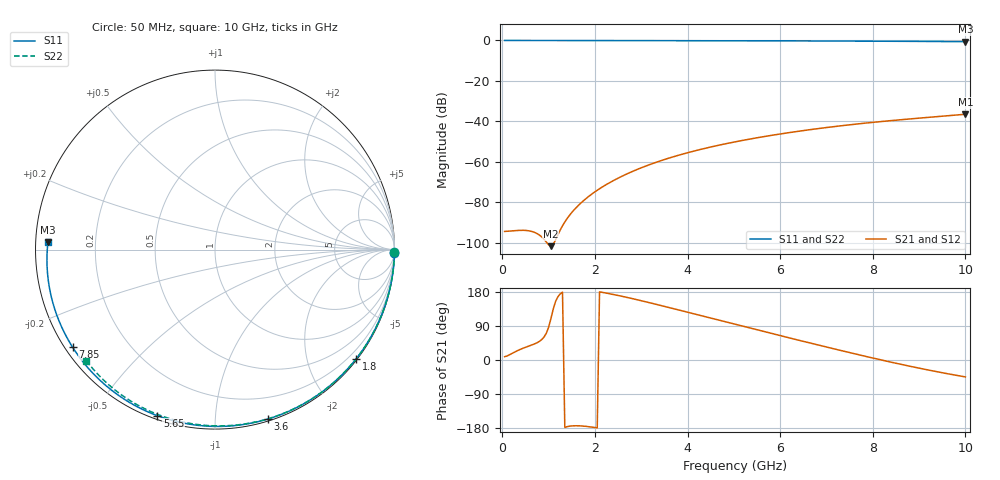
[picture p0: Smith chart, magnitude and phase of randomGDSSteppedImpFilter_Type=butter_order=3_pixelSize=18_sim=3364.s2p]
! freq	dB(S11)	phase(S11)	dB(S12)	phase(S12)
!  dB(S21)	phase(S21)	dB(S22)	phase(S22)
!S-par simulation data
#  GHz  S  DB  R 50
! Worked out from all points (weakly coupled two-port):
!   200 points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, 50 MHz to 10 GHz, reference 50 ohm
!   highest |S21| = -36.53 dB at 10 GHz (marker M1); lowest = -101.8 dB at 1.05 GHz (marker M2)
!   lowest |S11| = -0.6 dB at 10 GHz (marker M3), VSWR 28.29, Z = 1.77 + j1.11 ohm
!   |S11| at or under -10 dB: nowhere
!   |S22| runs from -0.5 to 0.0 dB; largest |S21 - S12| = 0
!   S11 on the Smith chart (normalised r, x): 50 MHz: open; 1.8 GHz: 0.03, -2.94; 3.6 GHz: 0.02, -1.36; 5.65 GHz: 0.02, -0.71; 7.85 GHz: 0.02, -0.31; 10 GHz: 0.04, +0.02
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0.05  -0.00 -1.1  -94.52 8.7  -94.52 8.7  -0.00 -0.8
0.55  -0.01 -11.7  -94.13 35.7  -94.13 35.7  -0.01 -8.8
1.05  -0.03 -22.2  -101.82 109.0  -101.82 109.0  -0.02 -16.8
1.7  -0.04 -35.6  -80.40 -174.0  -80.40 -174.0  -0.03 -27.0
1.75  -0.05 -36.6  -79.37 -174.4  -79.37 -174.4  -0.04 -27.8
1.8  -0.05 -37.6  -78.40 -175.0  -78.40 -175.0  -0.04 -28.5
2.1  -0.06 -43.7  -73.38 179.8  -73.38 179.8  -0.04 -33.2
2.3  -0.06 -47.6  -70.61 175.3  -70.61 175.3  -0.05 -36.3
2.5  -0.07 -51.6  -68.15 170.3  -68.15 170.3  -0.05 -39.3
2.9  -0.08 -59.4  -63.96 159.4  -63.96 159.4  -0.06 -45.4
3.4  -0.09 -69.0  -59.69 144.6  -59.69 144.6  -0.07 -52.8
3.6  -0.10 -72.7  -58.22 138.4  -58.22 138.4  -0.07 -55.8
4.3  -0.12 -85.6  -53.82 116.7  -53.82 116.7  -0.09 -65.9
5.05  -0.15 -98.9  -50.08 93.4  -50.08 93.4  -0.12 -76.4
5.65  -0.18 -109.2  -47.59 75.0  -47.59 75.0  -0.14 -84.5
6.15  -0.21 -117.6  -45.76 59.8  -45.76 59.8  -0.16 -91.2
6.7  -0.24 -126.7  -43.98 43.2  -43.98 43.2  -0.19 -98.3
7.3  -0.29 -136.5  -42.27 25.4  -42.27 25.4  -0.23 -106.0
7.85  -0.34 -145.5  -40.89 9.5  -40.89 9.5  -0.27 -112.9
8.35  -0.38 -153.7  -39.77 -4.5  -39.77 -4.5  -0.30 -119.1
9.2  -0.48 -168.1  -38.06 -26.5  -38.06 -26.5  -0.38 -129.5
10  -0.61 177.4  -36.53 -44.6  -36.53 -44.6  -0.47 -139.2
